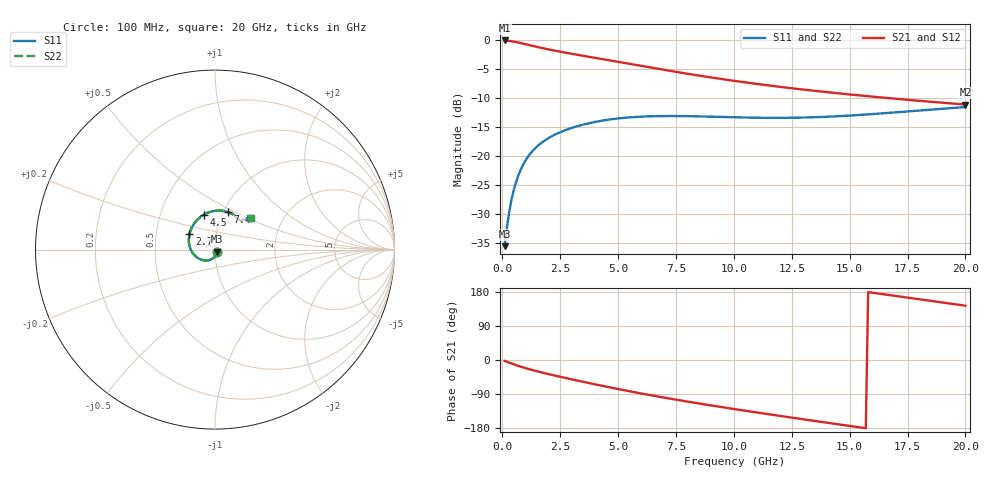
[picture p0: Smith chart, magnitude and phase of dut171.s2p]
! Touchstone file exported from HFSS 2023.1.0
!  File:  D:/Users/fzz/RDL_TSV/temp_RDL_TSV_171_1778754157.aedt
!  Generated:  6:29:58 %x4E0B%x5348  5%x6708 14, 2026
!  Design:  RDL_TSV
!  Project:  temp_RDL_TSV_171_1778754157
!  Setup:  Setup1
!  Solution:  Sweep
! Variables:
!  dtsv = 21.1um
!  hbump = 3um
!  htsv = 91.46um
!  ldown = 597.86um
!  lrdl = 160.48um
!  p = 40
!  p1 = 56.85um
!  rhole = 10um
!  subl = 2435.5um
!  t = 450um
!  tdown = 4.1um
!  trdl = 2.77um
!  viad = 10um
!  wdown = 16.95um
!  wrdl = 20.9um
!  xbump = 18um
# GHz S MA R 50.000000
! Terminal data exported
! Port[1] = TM1_1_T1
! Port[2] = TM1_4_T1
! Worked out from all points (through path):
!   200 points, 100 MHz to 20 GHz, reference 50 ohm
!   highest |S21| = -0.13 dB at 100 MHz (marker M1); lowest = -11.2 dB at 20 GHz (marker M2)
!   group delay of S21, straight-line fit = 28.1 ps
!   lowest |S11| = -35.5 dB at 100 MHz (marker M3), VSWR 1.03, Z = 51.2 - j1.16 ohm
!   |S11| at or under -10 dB: start of sweep to end of sweep
!   |S22| runs from -35.5 to -11.6 dB; largest |S21 - S12| = 4.6e-14
!   S11 on the Smith chart (normalised r, x): 100 MHz: 1.02, -0.02; 2.7 GHz: 0.74, +0.13; 4.5 GHz: 0.82, +0.34; 7.4 GHz: 1.06, +0.46; 20 GHz: 1.38, +0.52
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0.1  0.01676 -42.7  0.9854 -2.4  0.9854 -2.4  0.01676 -42.7
! Gamma 0 0 0 0
! Port Impedance 50 0 50 0
0.2  0.02424 -68.0  0.9822 -4.8  0.9822 -4.8  0.02423 -68.0
0.3  0.03309 -83.8  0.9772 -7.1  0.9772 -7.1  0.03308 -83.8
0.4  0.04228 -95.5  0.9708 -9.3  0.9708 -9.3  0.04227 -95.5
0.6  0.06022 -113.4  0.9548 -13.6  0.9548 -13.6  0.06022 -113.4
0.9  0.0842 -134.5  0.926 -19.6  0.926 -19.6  0.08423 -134.5
1.2  0.1042 -151.8  0.8958 -24.9  0.8958 -24.9  0.1042 -151.9
1.6  0.1255 -171.2  0.8581 -31.4  0.8581 -31.4  0.1257 -171.3
2.1  0.1464 168.7  0.8173 -38.7  0.8173 -38.7  0.1466 168.6
2.7  0.1661 149.0  0.7756 -47.1  0.7756 -47.1  0.1664 148.9
3.5  0.1863 127.9  0.7268 -57.7  0.7268 -57.7  0.1868 127.8
4.5  0.2041 107.3  0.6711 -70.5  0.6711 -70.5  0.2048 107.2
5.7  0.2162 88.7  0.6094 -84.8  0.6094 -84.8  0.2171 88.6
6.8  0.2203 76.0  0.5583 -97.2  0.5583 -97.2  0.2214 75.9
7.4  0.2206 70.5  0.5329 -103.6  0.5329 -103.6  0.2217 70.4
8.7  0.2186 61.3  0.4841 -116.8  0.4841 -116.8  0.2197 61.2
10.1  0.215 55.0  0.4404 -130.2  0.4404 -130.2  0.2162 54.9
11.7  0.2128 50.9  0.3997 -144.9  0.3997 -144.9  0.214 50.7
13.4  0.2152 48.8  0.365 -160.0  0.365 -160.0  0.2163 48.6
15  0.2226 47.7  0.3382 -173.9  0.3382 -173.9  0.2235 47.5
16.7  0.2349 46.3  0.3143 171.4  0.3143 171.4  0.2357 46.1
20  0.2635 41.6  0.2769 143.3  0.2769 143.3  0.2641 41.4
